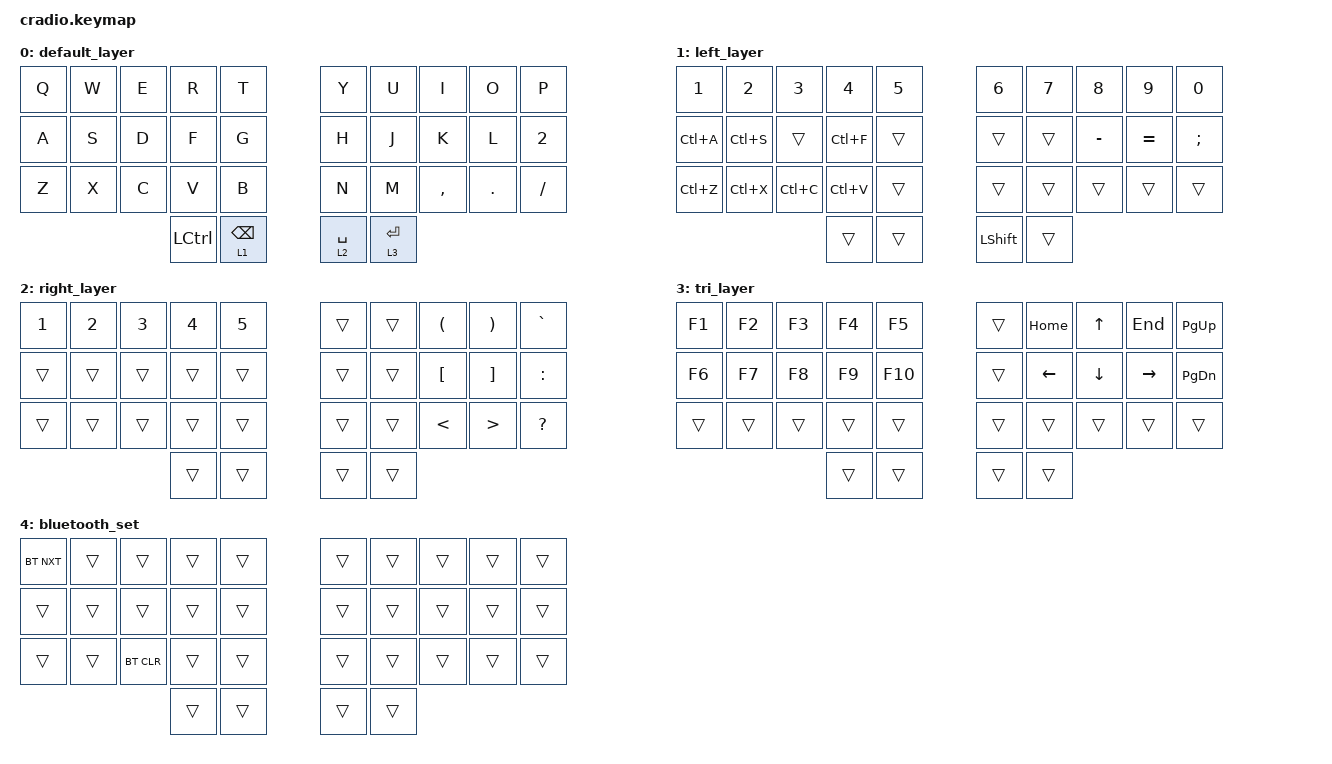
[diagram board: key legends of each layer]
/*
 * Copyright (c) 2020 The ZMK Contributors
 *
 * SPDX-License-Identifier: MIT
 */

#include <behaviors.dtsi>
#include <dt-bindings/zmk/bt.h>
#include <dt-bindings/zmk/keys.h>

&mt {
    //  flavor = "tap-preferred";
    // tapping_term_ms = <200>;
};

/ {
    combos {
        compatible = "zmk,combos";

        combo_esc {
            timeout-ms = <50>;
            key-positions = <0 1>;
            bindings = <&kp ESC>;
        };

        combo_tab {
            timeout-ms = <50>;
            key-positions = <10 11>;
            bindings = <&kp TAB>;
        };

        c4 {
            bindings = <&kp LS(ENTER)>;
            key-positions = <18 17>;
        };

        c5 {
            bindings = <&kp LEFT_SHIFT>;
            key-positions = <20 21>;
        };

        c6 {
            bindings = <&kp BACKSPACE>;
            key-positions = <9 8>;
        };

        c7 {
            bindings = <&mo 4>;
            key-positions = <9 29>;
        };

        esc2 {
            bindings = <&kp ESC>;
            key-positions = <11 12>;
            timeout-ms = <50>;
        };
    };

    macros {
        macro_1: macro_1 {
            compatible = "zmk,behavior-macro";
            label = "new_macro";
            #binding-cells = <0>;
            bindings =
                <&macro_press>,
                <&mo 0 &kp LCTRL>,
                <&macro_pause_for_release>,
                <&macro_release>,
                <&mo 0 &kp LCTRL>;
        };
    };

    keymap {
        compatible = "zmk,keymap";

        default_layer {
            bindings = <
&kp Q  &kp W  &kp E  &kp R      &kp T            &kp Y        &kp U        &kp I      &kp O    &kp P
&kp A  &kp S  &kp D  &kp F      &kp G            &kp H        &kp J        &kp K      &kp L    &kp NUMBER_2
&kp Z  &kp X  &kp C  &kp V      &kp B            &kp N        &kp M        &kp COMMA  &kp DOT  &kp SLASH
                     &kp LCTRL  &lt 1 BACKSPACE  &lt 2 SPACE  &lt 3 ENTER
            >;
        };

        left_layer {
            bindings = <
&kp NUMBER_1  &kp NUMBER_2  &kp NUMBER_3  &kp NUMBER_4  &kp NUMBER_5  &kp NUMBER_6  &kp NUMBER_7  &kp NUMBER_8  &kp NUMBER_9  &kp NUMBER_0
&kp LC(A)     &kp LC(S)     &trans        &kp LC(F)     &trans        &trans        &trans        &kp MINUS     &kp EQUAL     &kp SEMI
&kp LC(Z)     &kp LC(X)     &kp LC(C)     &kp LC(V)     &trans        &trans        &trans        &trans        &trans        &trans
                                          &trans        &trans        &kp LSHIFT    &trans
            >;
        };

        right_layer {
            bindings = <
&kp NUMBER_1  &kp NUMBER_2  &kp NUMBER_3  &kp NUMBER_4  &kp NUMBER_5  &trans  &trans  &kp LEFT_PARENTHESIS  &kp RIGHT_PARENTHESIS  &kp GRAVE
&trans        &trans        &trans        &trans        &trans        &trans  &trans  &kp LEFT_BRACKET      &kp RIGHT_BRACKET      &kp COLON
&trans        &trans        &trans        &trans        &trans        &trans  &trans  &kp LESS_THAN         &kp GREATER_THAN       &kp QUESTION
                                          &trans        &trans        &trans  &trans
            >;
        };

        tri_layer {
            bindings = <
&kp F1  &kp F2  &kp F3  &kp F4  &kp F5   &trans  &kp HOME  &kp UP    &kp END    &kp PAGE_UP
&kp F6  &kp F7  &kp F8  &kp F9  &kp F10  &trans  &kp LEFT  &kp DOWN  &kp RIGHT  &kp PAGE_DOWN
&trans  &trans  &trans  &trans  &trans   &trans  &trans    &trans    &trans     &trans
                        &trans  &trans   &trans  &trans
            >;
        };

        bluetooth_set {
            bindings = <
&bt BT_NXT  &trans  &trans      &trans  &trans  &trans  &trans  &trans  &trans  &trans
&trans      &trans  &trans      &trans  &trans  &trans  &trans  &trans  &trans  &trans
&trans      &trans  &bt BT_CLR  &trans  &trans  &trans  &trans  &trans  &trans  &trans
                                &trans  &trans  &trans  &trans
            >;
        };
    };
};
